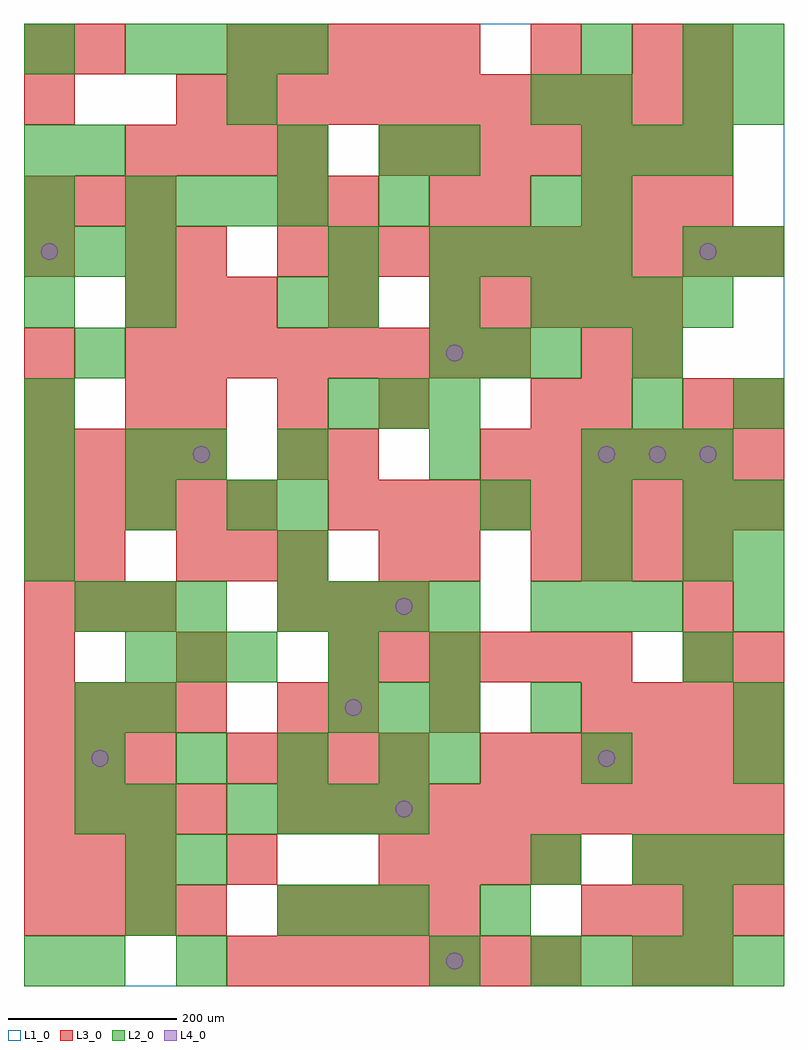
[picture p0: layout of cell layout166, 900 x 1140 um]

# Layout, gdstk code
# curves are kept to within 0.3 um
import gdstk
lib = gdstk.Library(unit=1e-6, precision=1e-09)
def R(c, l, rs):  # rectangles x0, y0, x1, y1
    for r in rs: c.add(gdstk.rectangle(r[:2], r[2:], *l))
def A(c, l, x, y, w, h, nx, ny, dx, dy):  # array of equal rectangles
    R(c, l, [(x+i*dx, y+j*dy, x+i*dx+w, y+j*dy+h) for i in range(nx) for j in range(ny)])
def P(c, l, *ps):  # polygons
    for p in ps: c.add(gdstk.Polygon(p, *l))
L1_0 = (1, 0)
L2_0 = (2, 0)
L3_0 = (3, 0)
L4_0 = (4, 0)

layout166 = lib.new_cell('layout166')
R(layout166, L1_0, [(0,0,900,1140)])
A(layout166, L2_0, 600, 0, 60, 60, 5, 1, 60, 0)
A(layout166, L2_0, 120, 60, 60, 60, 1, 3, 0, 60)
A(layout166, L2_0, 300, 60, 60, 60, 3, 1, 60, 0)
A(layout166, L2_0, 720, 120, 60, 60, 3, 1, 60, 0)
A(layout166, L2_0, 240, 180, 60, 60, 4, 1, 60, 0)
A(layout166, L2_0, 60, 240, 60, 60, 4, 1, 120, 0)
A(layout166, L2_0, 480, 240, 60, 60, 3, 1, 180, 0)
A(layout166, L2_0, 360, 300, 60, 60, 3, 2, 60, 360)
A(layout166, L2_0, 120, 360, 60, 60, 3, 1, 60, 0)
A(layout166, L2_0, 780, 360, 60, 60, 1, 3, 0, 120)
A(layout166, L2_0, 60, 420, 60, 60, 3, 1, 60, 0)
A(layout166, L2_0, 300, 420, 60, 60, 4, 1, 60, 0)
A(layout166, L2_0, 600, 420, 60, 60, 3, 1, 60, 0)
A(layout166, L2_0, 840, 420, 60, 60, 1, 3, 0, 60)
A(layout166, L2_0, 0, 540, 60, 60, 3, 1, 120, 0)
A(layout166, L2_0, 540, 540, 60, 60, 3, 1, 120, 0)
A(layout166, L2_0, 300, 600, 60, 60, 3, 1, 180, 0)
A(layout166, L2_0, 720, 600, 60, 60, 1, 3, 0, 60)
A(layout166, L2_0, 0, 660, 60, 60, 1, 3, 0, 120)
A(layout166, L2_0, 840, 660, 60, 60, 1, 3, 0, 180)
A(layout166, L2_0, 480, 720, 60, 60, 3, 1, 60, 0)
A(layout166, L2_0, 360, 780, 60, 60, 3, 1, 120, 0)
A(layout166, L2_0, 660, 780, 60, 60, 3, 2, 60, 180)
A(layout166, L2_0, 0, 840, 60, 60, 3, 1, 60, 0)
A(layout166, L2_0, 480, 840, 60, 60, 4, 1, 60, 0)
A(layout166, L2_0, 120, 900, 60, 60, 4, 2, 60, 180)
R(layout166, L2_0, [(0,0,60,60), (60,0,120,60), (180,0,240,60), (480,0,540,60), (540,60,600,120), (780,60,840,120), (180,120,240,180), (600,120,660,180), (60,180,120,240), (60,300,120,360), (120,300,180,360), (600,300,660,360), (840,300,900,360), (360,360,420,420), (480,360,540,420), (0,480,60,540), (300,480,360,540), (660,480,720,540), (300,540,360,600), (0,600,60,660), (120,600,180,660), (180,600,240,660), (60,720,120,780), (120,780,180,840), (300,780,360,840), (360,840,420,900), (780,840,840,900), (420,900,480,960), (600,900,660,960), (660,900,720,960), (0,960,60,1020), (60,960,120,1020), (300,960,360,1020), (420,960,480,1020), (480,960,540,1020), (240,1020,300,1080), (600,1020,660,1080), (660,1020,720,1080), (780,1020,840,1080), (0,1080,60,1140), (660,1080,720,1140), (780,1080,840,1140), (840,1080,900,1140)])
A(layout166, L3_0, 240, 0, 60, 60, 7, 1, 60, 0)
A(layout166, L3_0, 0, 60, 60, 60, 4, 3, 60, 120)
A(layout166, L3_0, 300, 60, 60, 60, 4, 1, 60, 0)
A(layout166, L3_0, 660, 60, 60, 60, 4, 2, 60, 240)
A(layout166, L3_0, 0, 120, 60, 60, 3, 2, 60, 120)
A(layout166, L3_0, 420, 120, 60, 60, 4, 1, 60, 0)
A(layout166, L3_0, 720, 120, 60, 60, 3, 1, 60, 0)
A(layout166, L3_0, 300, 180, 60, 60, 10, 2, 60, 660)
A(layout166, L3_0, 240, 240, 60, 60, 4, 1, 60, 0)
A(layout166, L3_0, 540, 240, 60, 60, 6, 2, 60, 360)
A(layout166, L3_0, 300, 300, 60, 60, 1, 3, 0, 300)
A(layout166, L3_0, 0, 360, 60, 60, 3, 1, 180, 0)
A(layout166, L3_0, 420, 360, 60, 60, 5, 1, 60, 0)
A(layout166, L3_0, 0, 420, 60, 60, 3, 2, 60, 480)
A(layout166, L3_0, 300, 420, 60, 60, 3, 1, 60, 0)
A(layout166, L3_0, 180, 480, 60, 60, 3, 1, 60, 0)
A(layout166, L3_0, 600, 480, 60, 60, 4, 1, 60, 0)
A(layout166, L3_0, 0, 540, 60, 60, 5, 1, 60, 0)
A(layout166, L3_0, 360, 540, 60, 60, 9, 1, 60, 0)
A(layout166, L3_0, 0, 600, 60, 60, 4, 1, 60, 0)
A(layout166, L3_0, 180, 660, 60, 60, 3, 1, 120, 0)
A(layout166, L3_0, 120, 720, 60, 60, 8, 1, 60, 0)
A(layout166, L3_0, 120, 780, 60, 60, 3, 1, 60, 0)
A(layout166, L3_0, 480, 780, 60, 60, 5, 1, 60, 0)
A(layout166, L3_0, 660, 900, 60, 60, 3, 1, 60, 0)
A(layout166, L3_0, 120, 960, 60, 60, 4, 1, 60, 0)
A(layout166, L3_0, 420, 960, 60, 60, 7, 1, 60, 0)
A(layout166, L3_0, 180, 1020, 60, 60, 11, 1, 60, 0)
A(layout166, L3_0, 240, 1080, 60, 60, 5, 1, 60, 0)
R(layout166, L3_0, [(720,0,780,60), (780,0,840,60), (240,120,300,180), (360,300,420,360), (480,300,540,360), (780,360,840,420), (840,360,900,420), (780,420,840,480), (0,480,60,540), (60,480,120,540), (420,480,480,540), (480,480,540,540), (360,600,420,660), (0,660,60,720), (120,660,180,720), (600,660,660,720), (660,660,720,720), (780,660,840,720), (840,660,900,720), (0,720,60,780), (660,720,720,780), (720,720,780,780), (360,780,420,840), (0,840,60,900), (120,840,180,900), (180,840,240,900), (360,900,420,960), (480,900,540,960), (540,900,600,960), (0,1020,60,1080), (0,1080,60,1140), (60,1080,120,1140), (600,1080,660,1140), (720,1080,780,1140), (780,1080,840,1140)])
P(layout166, L4_0, [(40,870),(39.239,873.827),(37.071,877.071),(33.827,879.239),(30,880),(26.173,879.239),(22.929,877.071),(20.761,873.827),(20,870),(20.761,866.173),(22.929,862.929),(26.173,860.761),(30,860),(33.827,860.761),(37.071,862.929),(39.239,866.173)],
  [(100,270),(99.239,273.827),(97.071,277.071),(93.827,279.239),(90,280),(86.173,279.239),(82.929,277.071),(80.761,273.827),(80,270),(80.761,266.173),(82.929,262.929),(86.173,260.761),(90,260),(93.827,260.761),(97.071,262.929),(99.239,266.173)],
  [(220,630),(219.239,633.827),(217.071,637.071),(213.827,639.239),(210,640),(206.173,639.239),(202.929,637.071),(200.761,633.827),(200,630),(200.761,626.173),(202.929,622.929),(206.173,620.761),(210,620),(213.827,620.761),(217.071,622.929),(219.239,626.173)],
  [(400,330),(399.239,333.827),(397.071,337.071),(393.827,339.239),(390,340),(386.173,339.239),(382.929,337.071),(380.761,333.827),(380,330),(380.761,326.173),(382.929,322.929),(386.173,320.761),(390,320),(393.827,320.761),(397.071,322.929),(399.239,326.173)],
  [(460,210),(459.239,213.827),(457.071,217.071),(453.827,219.239),(450,220),(446.173,219.239),(442.929,217.071),(440.761,213.827),(440,210),(440.761,206.173),(442.929,202.929),(446.173,200.761),(450,200),(453.827,200.761),(457.071,202.929),(459.239,206.173)],
  [(460,450),(459.239,453.827),(457.071,457.071),(453.827,459.239),(450,460),(446.173,459.239),(442.929,457.071),(440.761,453.827),(440,450),(440.761,446.173),(442.929,442.929),(446.173,440.761),(450,440),(453.827,440.761),(457.071,442.929),(459.239,446.173)],
  [(520,30),(519.239,33.827),(517.071,37.071),(513.827,39.239),(510,40),(506.173,39.239),(502.929,37.071),(500.761,33.827),(500,30),(500.761,26.173),(502.929,22.929),(506.173,20.761),(510,20),(513.827,20.761),(517.071,22.929),(519.239,26.173)],
  [(520,750),(519.239,753.827),(517.071,757.071),(513.827,759.239),(510,760),(506.173,759.239),(502.929,757.071),(500.761,753.827),(500,750),(500.761,746.173),(502.929,742.929),(506.173,740.761),(510,740),(513.827,740.761),(517.071,742.929),(519.239,746.173)],
  [(700,270),(699.239,273.827),(697.071,277.071),(693.827,279.239),(690,280),(686.173,279.239),(682.929,277.071),(680.761,273.827),(680,270),(680.761,266.173),(682.929,262.929),(686.173,260.761),(690,260),(693.827,260.761),(697.071,262.929),(699.239,266.173)],
  [(700,630),(699.239,633.827),(697.071,637.071),(693.827,639.239),(690,640),(686.173,639.239),(682.929,637.071),(680.761,633.827),(680,630),(680.761,626.173),(682.929,622.929),(686.173,620.761),(690,620),(693.827,620.761),(697.071,622.929),(699.239,626.173)],
  [(760,630),(759.239,633.827),(757.071,637.071),(753.827,639.239),(750,640),(746.173,639.239),(742.929,637.071),(740.761,633.827),(740,630),(740.761,626.173),(742.929,622.929),(746.173,620.761),(750,620),(753.827,620.761),(757.071,622.929),(759.239,626.173)],
  [(820,630),(819.239,633.827),(817.071,637.071),(813.827,639.239),(810,640),(806.173,639.239),(802.929,637.071),(800.761,633.827),(800,630),(800.761,626.173),(802.929,622.929),(806.173,620.761),(810,620),(813.827,620.761),(817.071,622.929),(819.239,626.173)],
  [(820,870),(819.239,873.827),(817.071,877.071),(813.827,879.239),(810,880),(806.173,879.239),(802.929,877.071),(800.761,873.827),(800,870),(800.761,866.173),(802.929,862.929),(806.173,860.761),(810,860),(813.827,860.761),(817.071,862.929),(819.239,866.173)])

lib.write_gds('layout166.gds')
